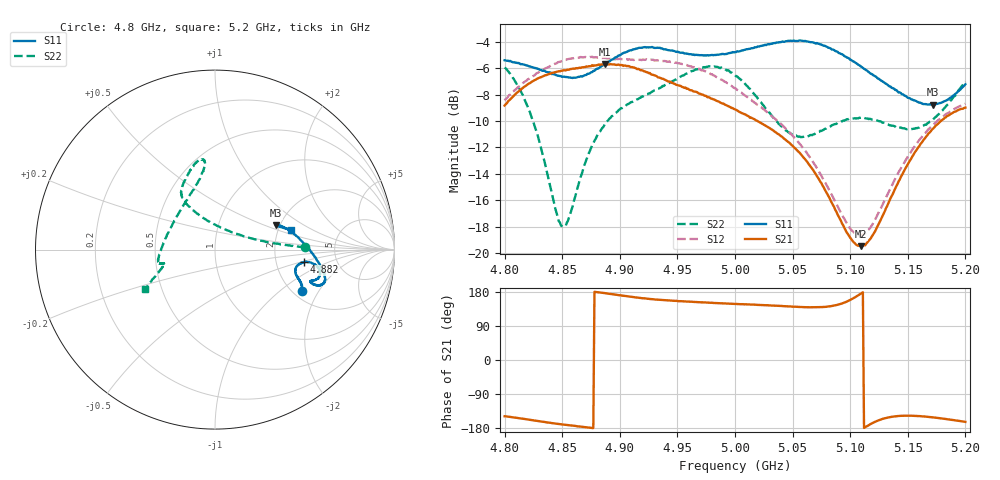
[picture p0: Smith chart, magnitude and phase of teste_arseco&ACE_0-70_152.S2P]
! Network Analyzer HP8722D
! Hewlett-Packard
! Data name: Linha & Wilkinson
! Saver's name: Rodrigo Anjos
! Comments: Teste da utilização de aquisição
! continua pelo VNA HP8722D
! Time and date: 8/5/2025 14:01
!  Frequency  S11  S21  S12  S22
# HZ  S  MA R 50
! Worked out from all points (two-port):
!   401 points, 4.8 GHz to 5.2 GHz, reference 50 ohm
!   highest |S21| = -5.68 dB at 4.887 GHz (marker M1); lowest = -19.5 dB at 5.109 GHz (marker M2)
!   |S21| within 3 dB of the highest: 4.802 GHz to 4.99 GHz (188.4 MHz wide, 3.85 % of centre)
!   lowest |S11| = -8.8 dB at 5.172 GHz (marker M3), VSWR 2.15, Z = 95 + j29.8 ohm
!   |S11| at or under -10 dB: nowhere
!   |S22| runs from -18.0 to -5.9 dB; largest |S21 - S12| = 1.1
!   S11 on the Smith chart (normalised r, x): 4.8 GHz: 2.23, -1.45; 4.882 GHz: 2.90, -0.54; 5.2 GHz: 2.33, +0.64
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4.8e9  0.5366 -25.4  0.3616 -148.4  0.3785 10.9  0.5033 1.6
4.812e9  0.5242 -22.3  0.4089 -153.4  0.4256 9.2  0.4255 2.7
4.823e9  0.5067 -20.4  0.4433 -158.4  0.4612 7.7  0.3307 6.1
4.849e9  0.4669 -16.1  0.4897 -169.7  0.5312 3.4  0.1269 57.4
4.855e9  0.4627 -14.4  0.4943 -171.9  0.5421 2.6  0.1326 84.3
4.867e9  0.4653 -11.1  0.5043 -176.1  0.5507 0.8  0.1994 113.0
4.882e9  0.502 -8.0  0.5172 178.1  0.5491 -0.3  0.2856 121.3
4.887e9  0.5196 -7.7  0.5197 176.4  0.5477 -0.5  0.3072 122.2
4.91e9  0.5854 -10.2  0.5053 166.8  0.5395 -0.3  0.3727 120.4
4.934e9  0.5976 -15.5  0.4616 158.8  0.5363 -1.1  0.4196 113.7
4.973e9  0.5598 -18.5  0.3951 151.9  0.49 -4.7  0.5057 100.3
5e9  0.576 -19.2  0.35 148.0  0.4214 -4.8  0.4713 97.1
5.018e9  0.6009 -19.2  0.3182 145.9  0.3689 -2.5  0.3934 103.6
5.044e9  0.6333 -17.5  0.2681 141.8  0.2956 3.2  0.2911 131.2
5.067e9  0.6281 -13.3  0.2084 139.1  0.2237 9.6  0.2794 164.4
5.098e9  0.5479 -2.9  0.118 155.5  0.1278 36.7  0.3207 -170.1
5.109e9  0.5094 2.1  0.1062 174.8  0.1164 57.9  0.3249 -166.8
5.119e9  0.4754 7.1  0.1159 -166.8  0.1277 77.6  0.3201 -166.1
5.134e9  0.4277 14.4  0.1575 -151.0  0.1725 94.7  0.3047 -165.6
5.154e9  0.3808 21.1  0.2323 -147.2  0.2467 101.9  0.2949 -164.4
5.172e9  0.3646 21.9  0.2958 -151.4  0.3058 102.8  0.3204 -159.8
5.2e9  0.4353 14.8  0.3551 -163.2  0.3677 103.2  0.446 -150.5
